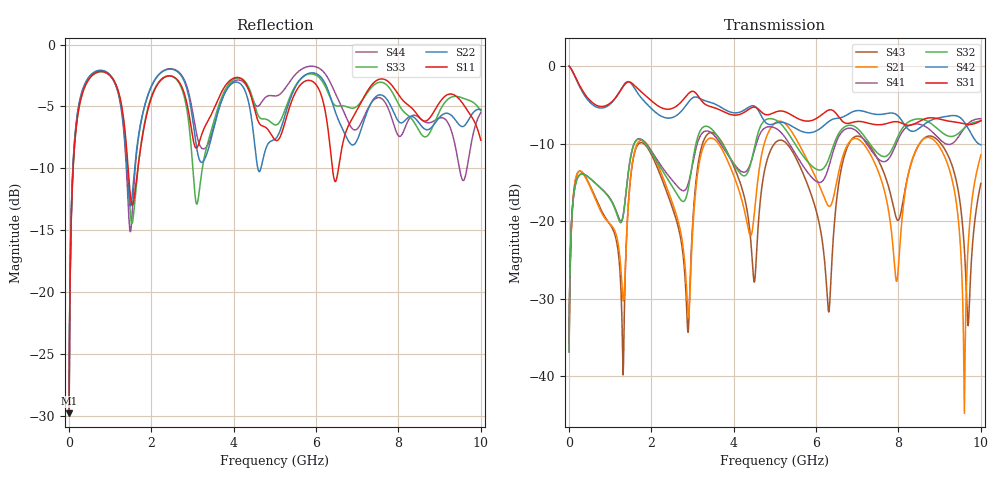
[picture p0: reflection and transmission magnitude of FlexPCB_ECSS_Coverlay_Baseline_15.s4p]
! TOUCHSTONE file generated by CST MICROWAVE STUDIO
! Date and time: Sun Jul  5 19:09:40 2026
! Project name: FlexPCB_ECSS_Coverlay_Baseline.cst
! Parameters = {Gap=0.8; GroundW=6.2; Hadh=0.025; Hcov=0.025; Hsub=0.1; L=50; Tcu=0.035; W=0.14}
! Header version: 2024
! Port assignment regex: !\s*Touchstone port\s*([0-9]+)\s*=\s*(CST MWS port|CST DES external port|CST DES block port)\s*(.+)\s* \(\"(.*)\"\)(\s*mode\s*([0-9]+))?.*
! Touchstone port assignment:
! Touchstone port 1 = CST MWS port 1 ("")
! Touchstone port 2 = CST MWS port 2 ("")
! Touchstone port 3 = CST MWS port 3 ("")
! Touchstone port 4 = CST MWS port 4 ("")
# GHz S MA R 50
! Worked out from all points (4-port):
!   1002 points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, 10 MHz to 10 GHz, reference 50 ohm
!   strongest paths, dB at 10 MHz, 2.51 GHz, 5.01 GHz, 7.503 GHz, 10 GHz:
!     S31: 0.0, -5.5, -5.9, -7.6, -7.0
!     S42: 0.0, -6.6, -7.4, -6.2, -10.1
!     S32: -36.8, -15.5, -6.9, -11.3, -7.1
!     S41: -36.8, -14.7, -8.0, -11.9, -6.8
!     S21: -35.7, -17.5, -7.3, -13.5, -11.4
!     S43: -35.7, -18.2, -9.9, -12.0, -15.1
!   lowest |S11| = -29.8 dB at 10 MHz (marker M1), VSWR 1.07, Z = 49.9 - j3.24 ohm
!   |S11| at or under -10 dB: start of sweep to 106.9 MHz; 1.442 GHz to 1.677 GHz (234.9 MHz wide, 15.1 % of centre); 6.399 GHz to 6.545 GHz (146.1 MHz wide, 2.26 % of centre)
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0.01  0.03248 -90.5  0.01631 85.6  0.9978 -2.4  0.0144 85.7
      0.01631 85.6  0.03408 -90.7  0.0144 85.7  0.9978 -2.5
      0.9978 -2.4  0.0144 85.7  0.03248 -90.5  0.01631 85.6
      0.0144 85.7  0.9978 -2.5  0.01631 85.6  0.03408 -90.7
0.41  0.6875 -154.3  0.1909 -9.6  0.6484 -60.6  0.1986 -31.4
      0.1909 -9.6  0.703 -155.3  0.1983 -31.5  0.6319 -61.4
      0.6484 -60.6  0.1983 -31.5  0.6867 -154.5  0.193 -10.6
      0.1986 -31.4  0.6319 -61.4  0.193 -10.6  0.7022 -155.1
1.52  0.2294 164.0  0.2133 67.1  0.7793 -171.9  0.2733 -101.7
      0.2133 67.1  0.2301 -175.6  0.274 -101.4  0.7697 -177.3
      0.7793 -171.9  0.274 -101.4  0.192 165.4  0.2112 81.1
      0.2733 -101.7  0.7697 -177.3  0.2112 81.1  0.1869 -168.3
3.08  0.3828 169.2  0.1571 91.8  0.6713 14.9  0.2899 90.0
      0.1571 91.8  0.4075 147.3  0.3093 99.6  0.6318 24.0
      0.6713 14.9  0.3093 99.6  0.235 161.4  0.1727 96.3
      0.2899 90.0  0.6318 24.0  0.1727 96.3  0.4552 156.2
8.8  0.5164 163.7  0.3419 -29.9  0.464 135.4  0.3808 173.2
     0.3419 -29.9  0.4628 170.3  0.4246 172.7  0.4488 127.1
     0.464 135.4  0.4246 172.7  0.4539 178.5  0.353 -26.7
     0.3808 173.2  0.4488 127.1  0.353 -26.7  0.486 165.2
9.6  0.5655 140.4  0.005791 147.7  0.4244 48.8  0.3993 107.1
     0.005791 147.7  0.4701 168.7  0.3988 99.3  0.4348 19.7
     0.4244 48.8  0.3988 99.3  0.6045 167.1  0.06561 -138.4
     0.3993 107.1  0.4348 19.7  0.06561 -138.4  0.286 178.1
10  0.4108 130.0  0.2679 6.3  0.4455 10.7  0.4579 53.2
    0.2679 6.3  0.5466 163.5  0.4413 50.4  0.311 -16.5
    0.4455 10.7  0.4413 50.4  0.5397 161.2  0.1754 14.5
    0.4579 53.2  0.311 -16.5  0.1754 14.5  0.5315 -172.8
